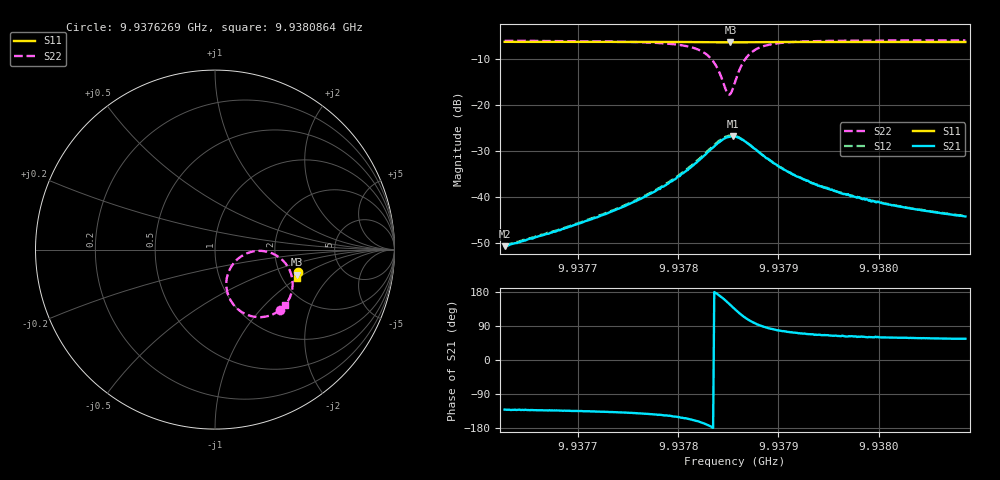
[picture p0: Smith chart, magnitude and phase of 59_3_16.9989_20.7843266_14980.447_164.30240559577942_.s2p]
#  HZ  S  RI  R  50.00
! Rohde & Schwarz Vector Network Analyzer
! Rohde-Schwarz,ZNB20-2Port,1311601062101988,3.16
! Created: UTC 3/20/2024, 10:54:44 PM
! freq[Hz]  re:S11  im:S11  re:S21  im:S21  re:S12  im:S12  re:S22  im:S22
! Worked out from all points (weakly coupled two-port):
!   401 points, 9.9376269 GHz to 9.9380864 GHz, reference 50 ohm
!   highest |S21| = -26.84 dB at 9.9378544 GHz (marker M1); lowest = -50.7 dB at 9.9376269 GHz (marker M2)
!   lowest |S11| = -6.5 dB at 9.9378521 GHz (marker M3), VSWR 2.81, Z = 122 - j44.1 ohm
!   |S11| at or under -10 dB: nowhere
!   |S22| runs from -17.8 to -6.0 dB; largest |S21 - S12| = 0.0029
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9.93762694e9  0.4648 -0.1274  -0.00191 -0.00221  -0.00198 -0.00222  0.3614 -0.3375
9.9377039e9  0.4628 -0.1327  -0.00372 -0.00373  -0.00385 -0.00371  0.3413 -0.3512
9.93774754e9  0.4615 -0.1359  -0.00607 -0.00527  -0.00627 -0.00529  0.3182 -0.3627
9.93778085e9  0.4604 -0.1384  -0.0099 -0.00711  -0.0103 -0.00709  0.2825 -0.3732
9.93781071e9  0.4586 -0.1407  -0.0185 -0.0083  -0.0192 -0.00822  0.2096 -0.3725
9.93782679e9  0.457 -0.1416  -0.028 -0.00566  -0.0293 -0.00516  0.133 -0.3366
9.93783483e9  0.456 -0.1417  -0.0346 -0.000572  -0.0358 0.000608  0.0877 -0.284
9.93784172e9  0.4551 -0.1413  -0.0392 0.00761  -0.0402 0.0097  0.0636 -0.2065
9.93784861e9  0.4546 -0.1404  -0.0398 0.0196  -0.0396 0.0224  0.0831 -0.1084
9.93785205e9  0.4546 -0.1398  -0.0373 0.0258  -0.0365 0.0286  0.1147 -0.0635
9.93785435e9  0.4549 -0.1394  -0.0344 0.0297  -0.0335 0.032  0.1432 -0.0393
9.93785665e9  0.455 -0.1391  -0.0314 0.0325  -0.03 0.0348  0.1752 -0.0219
9.93786124e9  0.4557 -0.1387  -0.0236 0.0364  -0.0218 0.038  0.2415 -0.007
9.93786584e9  0.4565 -0.1388  -0.0161 0.0372  -0.0144 0.0381  0.3011 -0.0148
9.93787158e9  0.4573 -0.1392  -0.00865 0.0356  -0.00702 0.036  0.3562 -0.0422
9.93787847e9  0.4579 -0.1399  -0.00236 0.0318  -0.00126 0.0317  0.3964 -0.0817
9.93788881e9  0.4585 -0.1411  0.00228 0.0261  0.0032 0.026  0.4236 -0.1344
9.93790259e9  0.4583 -0.1427  0.00478 0.0201  0.00532 0.0201  0.4326 -0.1833
9.9379336e9  0.458 -0.1455  0.00533 0.0131  0.00569 0.0129  0.426 -0.2412
9.93796231e9  0.4574 -0.1478  0.005 0.00976  0.00524 0.00985  0.4169 -0.2674
9.93801055e9  0.456 -0.1512  0.00422 0.0071  0.00438 0.00709  0.4049 -0.2903
9.93808635e9  0.4541 -0.1564  0.00343 0.00509  0.00357 0.00505  0.392 -0.3084
